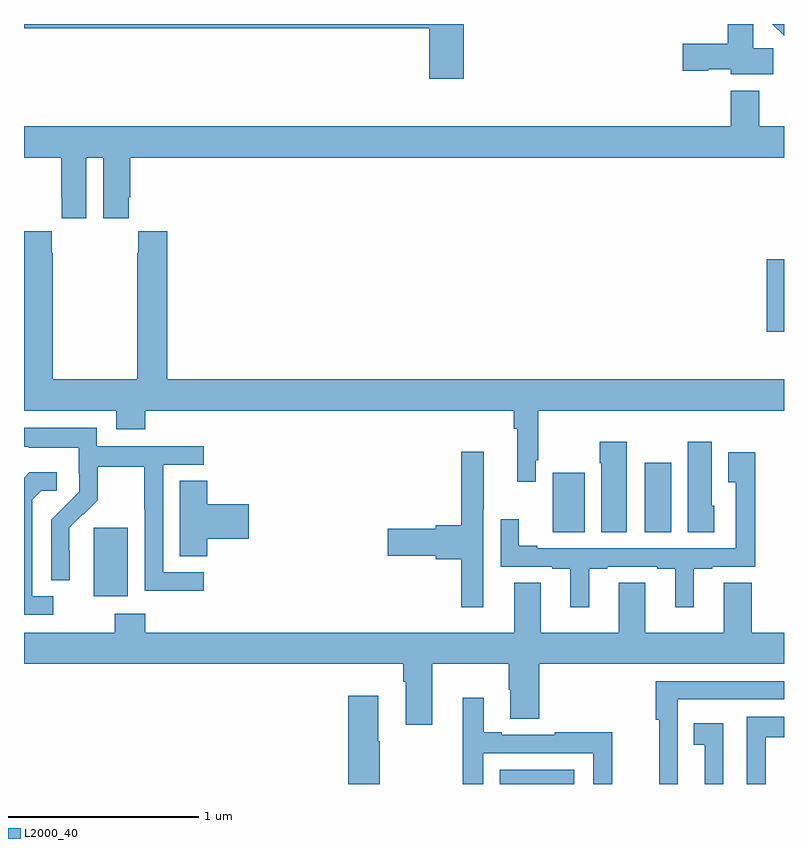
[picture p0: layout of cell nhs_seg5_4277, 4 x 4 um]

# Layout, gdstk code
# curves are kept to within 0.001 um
import gdstk
lib = gdstk.Library(unit=1e-6, precision=1e-09)
def R(c, l, rs):  # rectangles x0, y0, x1, y1
    for r in rs: c.add(gdstk.rectangle(r[:2], r[2:], *l))
def P(c, l, *ps):  # polygons
    for p in ps: c.add(gdstk.Polygon(p, *l))
L2000_40 = (2000, 40)

nhs_seg5_4277 = lib.new_cell('nhs_seg5_4277')
R(nhs_seg5_4277, L2000_40, [(365.503,850.799,365.896,850.873), (363.368,851.786,363.547,852.147), (365.783,852.124,365.95,852.436), (366.266,852.124,366.406,852.49), (366.908,853.179,367,853.56)])
P(nhs_seg5_4277, L2000_40, [(366.943,854.672),(366.838,854.672),(366.838,854.799),(366.704,854.799),(366.704,854.696),(366.468,854.696),(366.468,854.554),(366.6,854.554),(366.6,854.561),(366.72,854.561),(366.72,854.534),(366.943,854.534)],
  [(367,854.799),(366.938,854.799),(366.938,854.798),(367,854.736)],
  [(365.315,854.799),(363,854.799),(363,854.776),(365.132,854.776),(365.132,854.511),(365.315,854.511)],
  [(363.328,854.096),(363.416,854.096),(363.416,853.776),(363.55,853.776),(363.55,853.888),(363.56,853.888),(363.56,854.096),(367,854.096),(367,854.26),(366.871,854.26),(366.871,854.449),(366.719,854.449),(366.719,854.26),(363,854.26),(363,854.096),(363.197,854.096),(363.197,853.888),(363.198,853.888),(363.198,853.776),(363.328,853.776)],
  [(365.694,852.502),(365.707,852.502),(365.707,852.764),(367,852.764),(367,852.928),(363.755,852.928),(363.755,853.708),(363.601,853.708),(363.601,853.595),(363.595,853.595),(363.595,852.928),(363.15,852.928),(363.15,853.595),(363.147,853.595),(363.147,853.708),(363,853.708),(363,852.764),(363.485,852.764),(363.485,852.665),(363.638,852.665),(363.638,852.764),(365.578,852.764),(365.578,852.668),(365.597,852.668),(365.597,852.39),(365.694,852.39)],
  [(363.946,851.913),(363.732,851.913),(363.732,852.48),(363.946,852.48),(363.946,852.576),(363.384,852.576),(363.384,852.673),(363,852.673),(363,852.573),(363.025,852.573),(363.025,852.569),(363.288,852.569),(363.288,852.435),(363.29,852.435),(363.29,852.338),(363.144,852.19),(363.144,851.872),(363.24,851.872),(363.239,852.149),(363.309,852.219),(363.312,852.216),(363.389,852.293),(363.389,852.468),(363.634,852.468),(363.634,852.244),(363.636,852.244),(363.636,851.815),(363.946,851.815)],
  [(366.634,852.264),(366.619,852.264),(366.619,852.601),(366.494,852.601),(366.494,852.124),(366.634,852.124)],
  [(366.172,852.601),(366.031,852.601),(366.031,852.488),(366.038,852.488),(366.038,852.124),(366.172,852.124)],
  [(365.418,852.244),(365.42,852.244),(365.42,852.547),(365.302,852.547),(365.302,852.161),(365.166,852.161),(365.166,852.143),(364.914,852.143),(364.914,852.001),(365.166,852.001),(365.166,851.983),(365.302,851.983),(365.302,851.73),(365.418,851.73)],
  [(365.974,851.931),(366.07,851.931),(366.07,851.943),(366.332,851.943),(366.332,851.931),(366.428,851.931),(366.428,851.73),(366.526,851.73),(366.526,851.931),(366.622,851.931),(366.622,851.943),(366.848,851.943),(366.848,852.544),(366.707,852.544),(366.707,852.388),(366.747,852.388),(366.747,852.039),(365.701,852.039),(365.701,852.052),(365.605,852.052),(365.605,852.193),(365.508,852.193),(365.508,851.943),(365.78,851.943),(365.78,851.931),(365.876,851.931),(365.876,851.73),(365.974,851.73)],
  [(363.154,851.787),(363.043,851.787),(363.043,852.295),(363.09,852.342),(363.172,852.342),(363.172,852.439),(363.028,852.439),(363,852.411),(363,851.691),(363.154,851.691)],
  [(363.965,852.089),(364.183,852.089),(364.183,852.272),(363.965,852.272),(363.965,852.395),(363.821,852.395),(363.821,851.998),(363.965,851.998)],
  [(365.149,851.432),(365.551,851.432),(365.551,851.294),(365.558,851.294),(365.558,851.143),(365.711,851.143),(365.711,851.432),(367,851.432),(367,851.596),(366.831,851.596),(366.831,851.858),(366.683,851.858),(366.683,851.596),(366.271,851.596),(366.271,851.858),(366.131,851.858),(366.131,851.596),(365.719,851.596),(365.719,851.858),(365.579,851.858),(365.579,851.596),(363.638,851.596),(363.638,851.695),(363.478,851.695),(363.478,851.596),(363,851.596),(363,851.432),(364.997,851.432),(364.997,851.336),(365.009,851.336),(365.009,851.112),(365.149,851.112)],
  [(366.442,850.916),(366.441,850.916),(366.441,851.244),(367,851.244),(367,851.34),(366.325,851.34),(366.325,851.137),(366.343,851.137),(366.343,850.799),(366.442,850.799)],
  [(364.872,851.024),(364.864,851.024),(364.864,851.263),(364.706,851.263),(364.706,850.799),(364.872,850.799)],
  [(365.418,850.962),(365.997,850.962),(365.997,850.799),(366.096,850.799),(366.096,851.071),(365.794,851.071),(365.794,851.058),(365.515,851.058),(365.515,851.071),(365.419,851.071),(365.419,851.254),(365.309,851.254),(365.309,851.009),(365.31,851.009),(365.31,850.799),(365.418,850.799)],
  [(366.905,851.046),(367,851.046),(367,851.154),(366.804,851.154),(366.804,850.799),(366.905,850.799)],
  [(366.681,851.119),(366.526,851.119),(366.526,851.006),(366.584,851.006),(366.584,850.799),(366.681,850.799)])

lib.write_gds('nhs_seg5_4277.gds')
